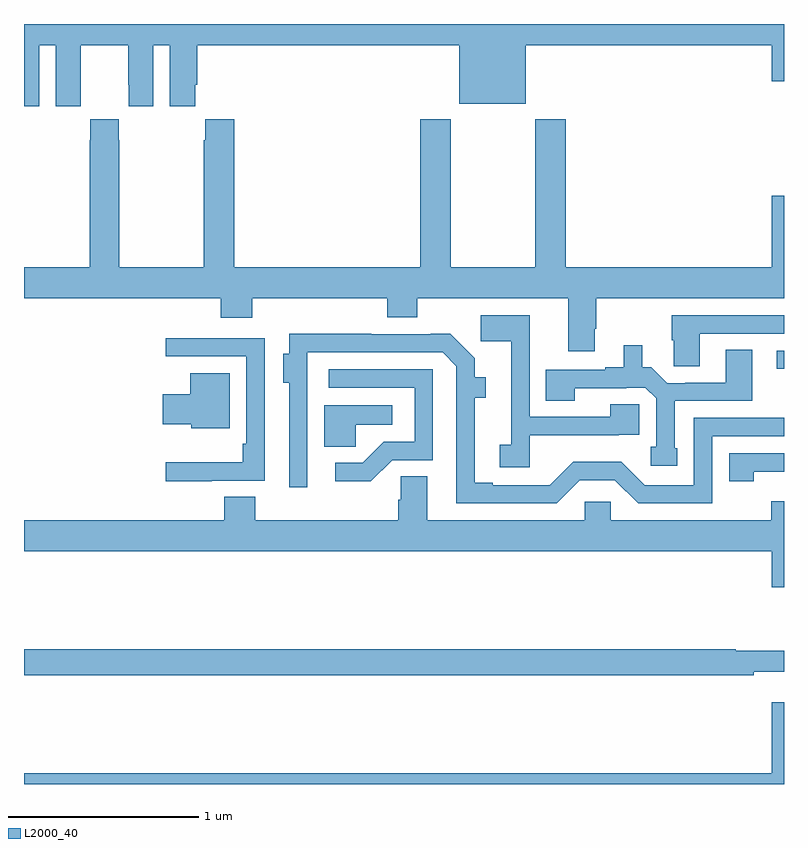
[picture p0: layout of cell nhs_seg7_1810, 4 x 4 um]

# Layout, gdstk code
import gdstk
lib = gdstk.Library(unit=1e-6, precision=1e-09)
def R(c, l, rs):  # rectangles x0, y0, x1, y1
    for r in rs: c.add(gdstk.rectangle(r[:2], r[2:], *l))
def P(c, l, *ps):  # polygons
    for p in ps: c.add(gdstk.Polygon(p, *l))
L2000_40 = (2000, 40)

nhs_seg7_1810 = lib.new_cell('nhs_seg7_1810')
R(nhs_seg7_1810, L2000_40, [(236.961,1060.185,237,1060.281)])
P(nhs_seg7_1810, L2000_40, [(233,1061.568),(233.08,1061.568),(233.08,1061.888),(233.168,1061.888),(233.168,1061.568),(233.298,1061.568),(233.298,1061.68),(233.299,1061.68),(233.299,1061.888),(233.549,1061.888),(233.549,1061.68),(233.55,1061.68),(233.55,1061.568),(233.68,1061.568),(233.68,1061.888),(233.768,1061.888),(233.768,1061.568),(233.902,1061.568),(233.902,1061.68),(233.912,1061.68),(233.912,1061.888),(235.292,1061.888),(235.292,1061.579),(235.642,1061.579),(235.642,1061.888),(236.936,1061.888),(236.936,1061.7),(237,1061.7),(237,1062),(233,1062)],
  [(236.005,1060.396),(236.013,1060.396),(236.013,1060.556),(237,1060.556),(237,1061.095),(236.936,1061.095),(236.936,1060.72),(235.85,1060.72),(235.85,1061.5),(235.69,1061.5),(235.69,1060.72),(235.245,1060.72),(235.245,1061.5),(235.085,1061.5),(235.085,1060.72),(234.107,1060.72),(234.107,1061.5),(233.953,1061.5),(233.953,1061.387),(233.947,1061.387),(233.947,1060.72),(233.502,1060.72),(233.502,1061.387),(233.499,1061.387),(233.499,1061.5),(233.349,1061.5),(233.349,1061.387),(233.347,1061.387),(233.347,1060.72),(233,1060.72),(233,1060.556),(234.035,1060.556),(234.035,1060.454),(234.2,1060.454),(234.2,1060.556),(234.911,1060.556),(234.911,1060.457),(235.071,1060.457),(235.071,1060.556),(235.865,1060.556),(235.865,1060.278),(236.005,1060.278)],
  [(235.662,1059.836),(236.129,1059.836),(236.129,1059.837),(236.239,1059.837),(236.239,1059.998),(236.086,1059.998),(236.086,1059.933),(235.662,1059.933),(235.662,1060.468),(235.404,1060.468),(235.404,1060.329),(235.565,1060.329),(235.565,1059.786),(235.503,1059.786),(235.503,1059.666),(235.662,1059.666)],
  [(236.557,1060.371),(237,1060.371),(237,1060.467),(236.41,1060.467),(236.41,1060.335),(236.419,1060.335),(236.419,1060.198),(236.557,1060.198)],
  [(235.926,1059.6),(236.109,1059.6),(236.232,1059.477),(236.622,1059.477),(236.622,1059.831),(237,1059.831),(237,1059.927),(236.526,1059.927),(236.526,1059.573),(236.268,1059.573),(236.144,1059.697),(235.89,1059.697),(235.766,1059.573),(235.468,1059.573),(235.468,1059.586),(235.372,1059.586),(235.372,1060.032),(235.429,1060.032),(235.429,1060.142),(235.373,1060.142),(235.373,1060.24),(235.243,1060.37),(235.142,1060.37),(235.142,1060.368),(234.827,1060.368),(234.827,1060.37),(234.396,1060.37),(234.396,1060.264),(234.365,1060.264),(234.365,1060.112),(234.396,1060.112),(234.396,1059.561),(234.492,1059.561),(234.492,1060.272),(235.203,1060.272),(235.275,1060.2),(235.275,1059.477),(235.803,1059.477)],
  [(233.989,1059.597),(234.267,1059.597),(234.267,1060.347),(233.745,1060.347),(233.745,1060.251),(234.171,1060.251),(234.171,1059.79),(234.151,1059.79),(234.151,1059.694),(233.745,1059.694),(233.745,1059.593),(233.989,1059.593)],
  [(236.437,1059.768),(236.424,1059.768),(236.424,1060.017),(236.833,1060.017),(236.833,1060.286),(236.693,1060.286),(236.693,1060.113),(236.479,1060.113),(236.479,1060.11),(236.385,1060.11),(236.301,1060.194),(236.254,1060.194),(236.254,1060.309),(236.156,1060.309),(236.156,1060.194),(236.06,1060.194),(236.06,1060.179),(235.747,1060.179),(235.747,1060.018),(235.899,1060.018),(235.899,1060.083),(236.171,1060.083),(236.171,1060.086),(236.271,1060.086),(236.328,1060.029),(236.328,1059.774),(236.298,1059.774),(236.298,1059.675),(236.437,1059.675)],
  [(234.939,1059.705),(235.152,1059.705),(235.152,1060.182),(234.603,1060.182),(234.603,1060.086),(235.056,1060.086),(235.056,1059.801),(234.894,1059.801),(234.783,1059.69),(234.639,1059.69),(234.639,1059.593),(234.826,1059.593)],
  [(234.082,1060.162),(233.876,1060.162),(233.876,1060.051),(233.73,1060.051),(233.73,1059.893),(233.88,1059.893),(233.88,1059.872),(234.082,1059.872)],
  [(234.745,1059.89),(234.937,1059.89),(234.937,1059.994),(234.581,1059.994),(234.581,1059.776),(234.745,1059.776)],
  [(236.84,1059.644),(237,1059.644),(237,1059.741),(236.712,1059.741),(236.712,1059.594),(236.84,1059.594)],
  [(237,1059.487),(236.932,1059.487),(236.932,1059.388),(236.088,1059.388),(236.088,1059.486),(235.95,1059.486),(235.95,1059.388),(235.123,1059.388),(235.123,1059.62),(234.984,1059.62),(234.984,1059.497),(234.971,1059.497),(234.971,1059.388),(234.218,1059.388),(234.218,1059.512),(234.053,1059.512),(234.053,1059.388),(233,1059.388),(233,1059.224),(236.936,1059.224),(236.936,1059.036),(237,1059.036)],
  [(236.84,1058.591),(237,1058.591),(237,1058.701),(236.745,1058.701),(236.745,1058.708),(233,1058.708),(233,1058.572),(236.84,1058.572)],
  [(237,1058.431),(236.936,1058.431),(236.936,1058.056),(233,1058.056),(233,1058),(237,1058)])

lib.write_gds('nhs_seg7_1810.gds')
